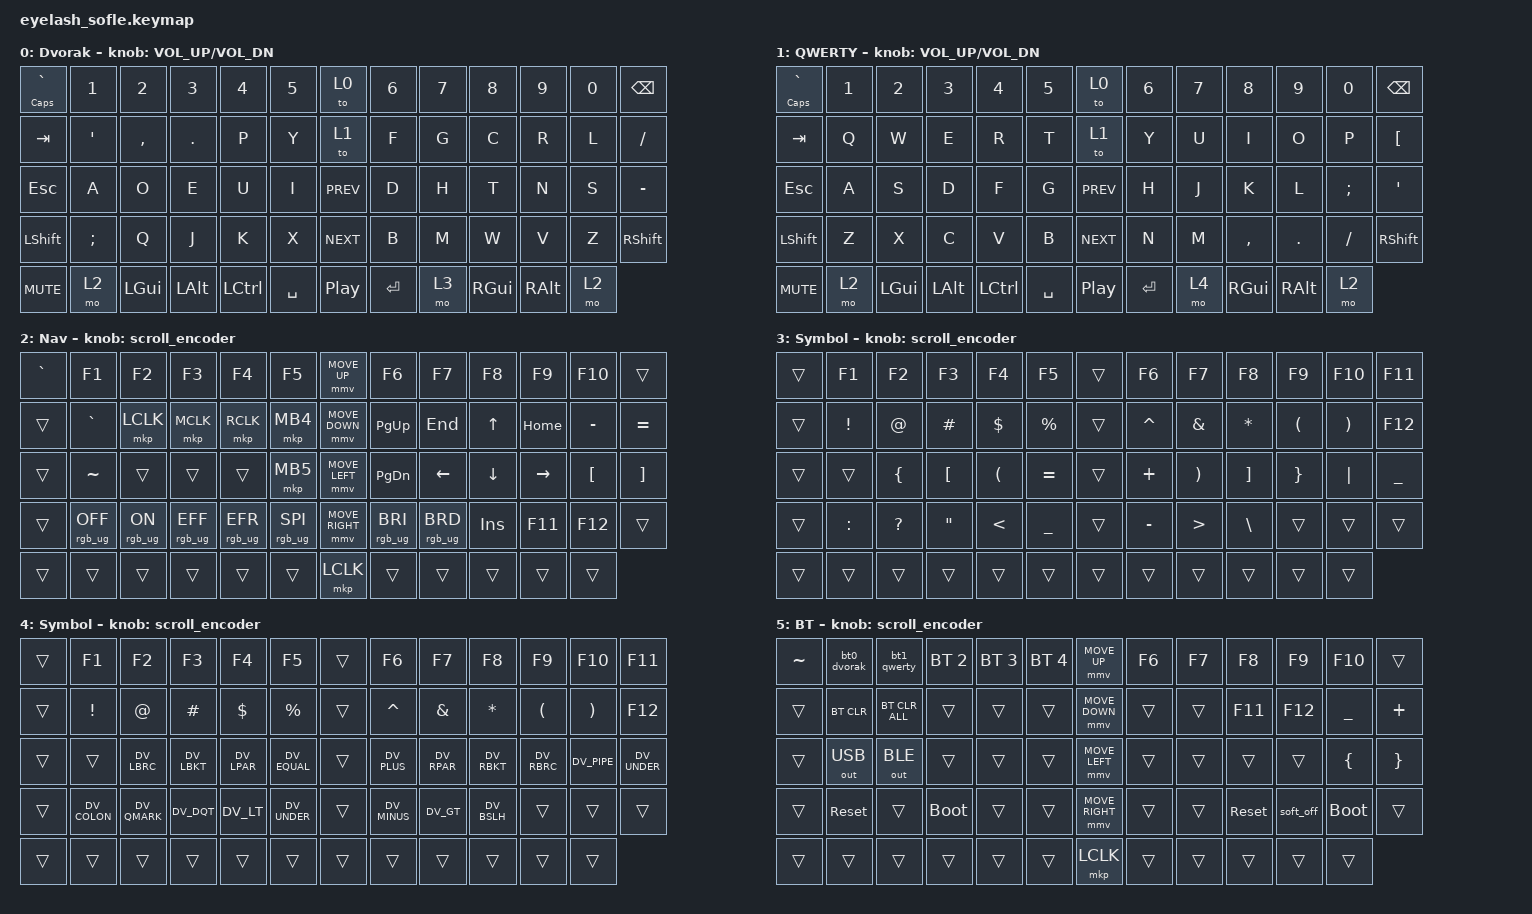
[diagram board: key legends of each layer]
#define ZMK_POINTING_DEFAULT_MOVE_VAL 1200  // 600
#define ZMK_POINTING_DEFAULT_SCRL_VAL 25   // 10

#include <input/processors.dtsi>
#include <zephyr/dt-bindings/input/input-event-codes.h>
#include <behaviors.dtsi>
#include <dt-bindings/zmk/bt.h>
#include <dt-bindings/zmk/keys.h>
#include <dt-bindings/zmk/outputs.h>
#include <dt-bindings/zmk/pointing.h>
#include <dt-bindings/zmk/rgb.h>
#include "keys_dvorak.h"

&mmv_input_listener { input-processors = <&zip_xy_scaler 2 1>; };

&msc_input_listener { input-processors = <&zip_scroll_scaler 2 1>; };

&msc {
    acceleration-exponent = <1>;      // 0
    time-to-max-speed-ms = <100>;     // 300
    delay-ms = <0>;                   // 0
};

&mmv {
    time-to-max-speed-ms = <500>;
    acceleration-exponent = <1>;
    trigger-period-ms = <16>;
};

&soft_off { hold-time-ms = <2000>; };

/ {
    scroll_encoder: scroll_encoder {
        compatible = "zmk,behavior-sensor-rotate";
        #sensor-binding-cells = <0>;
        bindings = <&msc SCRL_DOWN>, <&msc SCRL_UP>;

        tap-ms = <100>;
    };

    behaviors {
        ht: hold_tap {
            compatible = "zmk,behavior-hold-tap";
            #binding-cells = <2>;
            tapping-term-ms = <150>;
            flavor = "tap-preferred";
            bindings = <&kp>, <&kp>;
        };
    };

    combos {
        compatible = "zmk,combos";

        softoff {
            bindings = <&soft_off>;
            key-positions = <14 28 40>;
        };
    };

    macros {
        SHIFT_MCLK: SHIFT_MCLK {
            compatible = "zmk,behavior-macro";
            #binding-cells = <0>;
            bindings =
                <&macro_press>,
                <&kp LEFT_SHIFT>,
                <&macro_press>,
                <&mkp MB3>,
                <&macro_pause_for_release>,
                <&macro_release>,
                <&kp LEFT_SHIFT &mkp MB3>;

            label = "SHIFT_MCLK";
        };
        bt0_dvorak: bt0_dvorak {
            compatible = "zmk,behavior-macro";
            #binding-cells = <0>;
            bindings = <&bt BT_SEL 0>, <&to 0>;
            label = "BT0_DVORAK";
        };

        bt1_qwerty: bt1_qwerty {
            compatible = "zmk,behavior-macro";
            #binding-cells = <0>;
            bindings = <&bt BT_SEL 1>, <&to 1>;
            label = "BT1_QWERTY";
        };
    };

    conditional_layers: conditional_layers {
        compatible = "zmk,conditional-layers";
        adjust_layer {
            if-layers = <2 3>;
            then-layer = <5>;
        };
        adjust_layer_qwerty {
            if-layers = <2 4>;
            then-layer = <5>;
        };
    };

    keymap {
        compatible = "zmk,keymap";
        conditional-layers = <&conditional_layers>;

        layer0 {
            bindings = <
&ht CAPS GRAVE  &kp N1    &kp N2    &kp N3   &kp N4    &kp N5               &to 0      &kp N6   &kp N7    &kp N8    &kp N9   &kp N0   &kp BSPC
&kp TAB         &kp SQT   &kp COMMA &kp DOT  &kp P     &kp Y                &to 1      &kp F    &kp G     &kp C     &kp R    &kp L    &kp FSLH
&kp ESC         &kp A     &kp O     &kp E    &kp U     &kp I                &kp C_PREV &kp D    &kp H     &kp T     &kp N    &kp S    &kp MINUS
&kp LSHFT       &kp SEMI  &kp Q     &kp J    &kp K     &kp X                &kp C_NEXT &kp B    &kp M     &kp W     &kp V    &kp Z    &kp RSHFT
&kp C_MUTE      &mo 2     &kp LGUI  &kp LALT &kp LCTRL &kp SPACE            &kp C_PP   &kp RET  &mo 3     &kp RGUI  &kp RALT &mo 2
            >;

            sensor-bindings = <&inc_dec_kp C_VOLUME_UP C_VOL_DN>;
            display-name = "Dvorak";
        };

        layer_1 {
            bindings = <
&ht CAPS GRAVE  &kp N1    &kp N2    &kp N3   &kp N4    &kp N5               &to 0      &kp N6   &kp N7    &kp N8    &kp N9   &kp N0   &kp BSPC
&kp TAB         &kp Q     &kp W     &kp E    &kp R     &kp T                &to 1      &kp Y    &kp U     &kp I     &kp O    &kp P    &kp LBKT
&kp ESC         &kp A     &kp S     &kp D    &kp F     &kp G                &kp C_PREV &kp H    &kp J     &kp K     &kp L    &kp SEMI &kp SQT
&kp LSHFT       &kp Z     &kp X     &kp C    &kp V     &kp B                &kp C_NEXT &kp N    &kp M     &kp COMMA &kp DOT  &kp FSLH &kp RSHFT
&kp C_MUTE      &mo 2     &kp LGUI  &kp LALT &kp LCTRL &kp SPACE            &kp C_PP   &kp RET  &mo 4     &kp RGUI  &kp RALT &mo 2
            >;

            sensor-bindings = <&inc_dec_kp C_VOLUME_UP C_VOL_DN>;
            display-name = "QWERTY";
        };

        layer_2 {
            bindings = <
&kp GRAVE   &kp F1           &kp F2          &kp F3           &kp F4           &kp F5             &mmv MOVE_UP     &kp F6           &kp F7           &kp F8      &kp F9     &kp F10           &trans
&trans      &kp GRAVE        &mkp LCLK       &mkp MCLK        &mkp RCLK        &mkp MB4           &mmv MOVE_DOWN   &kp PG_UP        &kp END          &kp UP      &kp HOME   &kp MINUS         &kp EQUAL
&trans      &kp TILDE        &trans          &trans           &trans           &mkp MB5           &mmv MOVE_LEFT   &kp PG_DN        &kp LEFT         &kp DOWN    &kp RIGHT  &kp LEFT_BRACKET  &kp RIGHT_BRACKET
&trans      &rgb_ug RGB_OFF  &rgb_ug RGB_ON  &rgb_ug RGB_EFF  &rgb_ug RGB_EFR  &rgb_ug RGB_SPI    &mmv MOVE_RIGHT  &rgb_ug RGB_BRI  &rgb_ug RGB_BRD  &kp INSERT  &kp F11    &kp F12           &trans
&trans      &trans           &trans          &trans           &trans           &trans             &mkp LCLK        &trans           &trans           &trans      &trans     &trans
            >;

            display-name = "Nav";
            sensor-bindings = <&scroll_encoder>;
        };

        layer_3 {
            bindings = <
&trans  &kp F1    &kp F2    &kp F3      &kp F4    &kp F5                    &trans  &kp F6    &kp F7   &kp F8    &kp F9    &kp F10   &kp F11
&trans  &kp EXCL  &kp AT    &kp HASH    &kp DLLR  &kp PRCNT                 &trans  &kp CARET &kp AMPS &kp ASTRK &kp LPAR  &kp RPAR  &kp F12
&trans  &trans    &kp LBRC  &kp LBKT    &kp LPAR  &kp EQUAL                 &trans  &kp PLUS  &kp RPAR &kp RBKT  &kp RBRC  &kp PIPE  &kp UNDER
&trans  &kp COLON &kp QMARK &kp DQT     &kp LT    &kp UNDER                 &trans  &kp MINUS &kp GT   &kp BSLH  &trans    &trans    &trans
&trans  &trans    &trans    &trans      &trans    &trans                    &trans  &trans    &trans   &trans    &trans    &trans
            >;

            display-name = "Symbol";
            sensor-bindings = <&scroll_encoder>;
        };

        layer_4 {
            bindings = <
&trans  &kp F1    &kp F2    &kp F3      &kp F4    &kp F5                    &trans  &kp F6    &kp F7   &kp F8    &kp F9    &kp F10   &kp F11
&trans  &kp EXCL  &kp AT    &kp HASH    &kp DLLR  &kp PRCNT                 &trans  &kp CARET &kp AMPS &kp ASTRK &kp LPAR  &kp RPAR  &kp F12
&trans  &trans    &kp DV_LBRC  &kp DV_LBKT    &kp DV_LPAR  &kp DV_EQUAL                 &trans  &kp DV_PLUS  &kp DV_RPAR &kp DV_RBKT  &kp DV_RBRC  &kp DV_PIPE  &kp DV_UNDER
&trans  &kp DV_COLON &kp DV_QMARK &kp DV_DQT     &kp DV_LT    &kp DV_UNDER                 &trans  &kp DV_MINUS &kp DV_GT   &kp DV_BSLH  &trans    &trans    &trans
&trans  &trans    &trans    &trans      &trans    &trans                    &trans  &trans    &trans   &trans    &trans    &trans
            >;

            display-name = "Symbol";
            sensor-bindings = <&scroll_encoder>;
        };

        layer_5 {
            bindings = <
&kp TILDE  &bt0_dvorak   &bt1_qwerty     &bt BT_SEL 2  &bt BT_SEL 3  &bt BT_SEL 4    &mmv MOVE_UP     &kp F6  &kp F7  &kp F8      &kp F9     &kp F10      &trans
&trans     &bt BT_CLR    &bt BT_CLR_ALL  &trans        &trans        &trans          &mmv MOVE_DOWN   &trans  &trans  &kp F11     &kp F12    &kp UNDER    &kp PLUS
&trans     &out OUT_USB  &out OUT_BLE    &trans        &trans        &trans          &mmv MOVE_LEFT   &trans  &trans  &trans      &trans     &kp LBRC     &kp RBRC
&trans     &sys_reset    &trans          &bootloader   &trans        &trans          &mmv MOVE_RIGHT  &trans  &trans  &sys_reset  &soft_off  &bootloader  &trans
&trans     &trans        &trans          &trans        &trans        &trans          &mkp LCLK        &trans  &trans  &trans      &trans     &trans
            >;

            display-name = "BT";
            sensor-bindings = <&scroll_encoder>;
        };
    };
};
